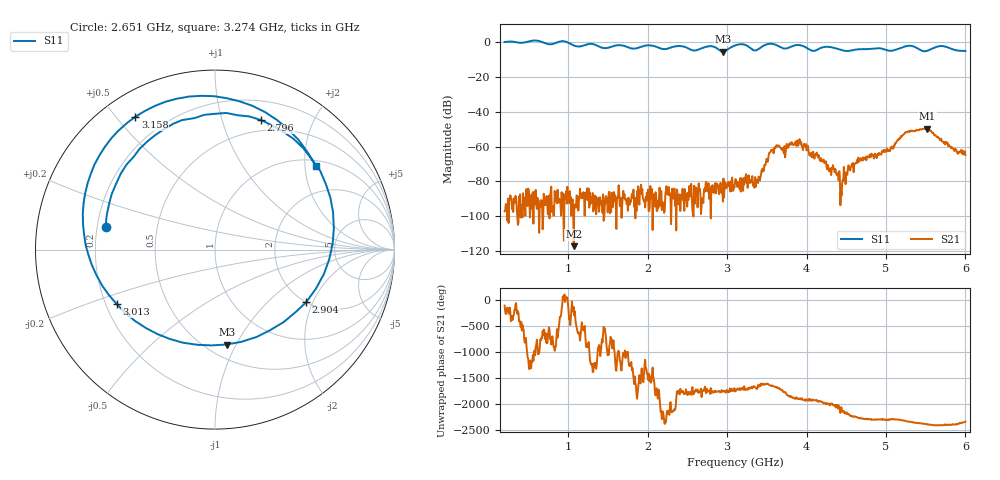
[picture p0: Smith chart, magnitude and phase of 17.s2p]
! NanoVNA-App
! Date: 2024-06-25 16:11:16
! Start: 200MHz Stop: 6GHz Points: 801
! S-Parameter data: F S11 S21 S12 S22
# Hz S RI R 50
!  Frequency  S11_Real  S11_Imag  S21_Real  S21_Imag  S12_Real  S12_Imag  S22_Real  S22_Imag
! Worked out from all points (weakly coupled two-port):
!   801 points, 200 MHz to 6 GHz, reference 50 ohm
!   highest |S21| = -49.60 dB at 5.521 GHz (marker M1); lowest = -117.1 dB at 1.07 GHz (marker M2)
!   lowest |S11| = -5.5 dB at 2.948 GHz (marker M3), VSWR 3.28, Z = 31 - j45.8 ohm
!   |S11| at or under -10 dB: nowhere
!   S12 and S22 are empty: the file has one direction only
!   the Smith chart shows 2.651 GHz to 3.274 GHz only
!   S11 on the Smith chart (normalised r, x): 2.651 GHz: 0.23, +0.10; 2.796 GHz: 0.39, +1.35; 2.904 GHz: 2.00, -1.79; 3.013 GHz: 0.24, -0.24; 3.158 GHz: 0.10, +0.56; 3.274 GHz: 1.14, +2.28
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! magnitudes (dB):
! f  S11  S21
! 200 MHz  0.0  -97.1
! 1.07 GHz  -1.9  -117.1
! 1.171 GHz  -2.3  -89.7
! 2.136 GHz  -3.1  -95.1
! 2.651 GHz  -4.1  -85.5
! 2.796 GHz  -2.3  -101.2
! 2.904 GHz  -4.6  -86.5
! 2.948 GHz  -5.5  -91.6
! 3.013 GHz  -4.1  -80.8
! 3.1 GHz  -1.9  -80.7
! 3.158 GHz  -1.3  -84.2
! 3.274 GHz  -2.7  -76.5
! 3.397 GHz  -4.0  -77.2
! 3.629 GHz  -1.9  -59.8
! 3.912 GHz  -1.7  -55.7
! 4.072 GHz  -5.0  -66.2
! 4.434 GHz  -4.5  -84.7
! 4.666 GHz  -4.1  -68.5
! 5.036 GHz  -4.9  -62.0
! 5.261 GHz  -2.3  -51.7
! 5.521 GHz  -5.0  -49.6
! 6 GHz  -5.1  -64.8
